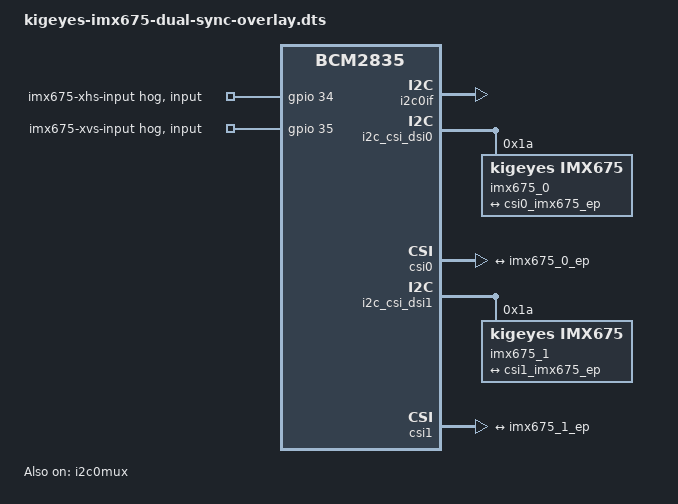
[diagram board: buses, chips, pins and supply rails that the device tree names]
// SPDX-License-Identifier: GPL-2.0-only
/dts-v1/;
/plugin/;

/*
 * KigEyes hardware-synchronised dual IMX675 setup.
 *
 * CAM0 is the XVS/XHS source and CAM1 is the receiver.  Use this overlay only
 * after both sync nets have been wired and every 3.3 V pull-up has been
 * isolated from the sensors' 1.8 V pins.  The ordinary dual overlay keeps both
 * modules in master/free-running mode for development hardware.
 */

/ {
	compatible = "brcm,bcm2835";

	fragment@0 {
		target = <&i2c0if>;
		__overlay__ { status = "okay"; };
	};

	fragment@1 {
		target = <&i2c0mux>;
		__overlay__ { status = "okay"; };
	};

	fragment@2 {
		target = <&i2c_csi_dsi0>;
		__overlay__ {
			#address-cells = <1>;
			#size-cells = <0>;
			status = "okay";

			imx675_0: camera@1a {
				compatible = "kigeyes,imx675";
				reg = <0x1a>;
				kigeyes,controller-address = <0x30>;
				kigeyes,sync-role = "master";
				rotation = <0>;
				orientation = <2>;

				port {
					imx675_0_ep: endpoint {
						clock-lanes = <0>;
						data-lanes = <1 2 3 4>;
						clock-noncontinuous;
						link-frequencies = /bits/ 64 <594000000 297000000>;
						remote-endpoint = <&csi0_imx675_ep>;
					};
				};
			};
		};
	};

	fragment@3 {
		target = <&csi0>;
		__overlay__ {
			status = "okay";
			port {
				csi0_imx675_ep: endpoint {
					clock-lanes = <0>;
					data-lanes = <1 2 3 4>;
					clock-noncontinuous;
					remote-endpoint = <&imx675_0_ep>;
				};
			};
		};
	};

	fragment@4 {
		target = <&i2c_csi_dsi1>;
		__overlay__ {
			#address-cells = <1>;
			#size-cells = <0>;
			status = "okay";

			imx675_1: camera@1a {
				compatible = "kigeyes,imx675";
				reg = <0x1a>;
				kigeyes,controller-address = <0x30>;
				kigeyes,sync-role = "slave";
				rotation = <0>;
				orientation = <2>;

				port {
					imx675_1_ep: endpoint {
						clock-lanes = <0>;
						data-lanes = <1 2 3 4>;
						clock-noncontinuous;
						link-frequencies = /bits/ 64 <594000000 297000000>;
						remote-endpoint = <&csi1_imx675_ep>;
					};
				};
			};
		};
	};

	fragment@5 {
		target = <&csi1>;
		__overlay__ {
			status = "okay";
			port {
				csi1_imx675_ep: endpoint {
					clock-lanes = <0>;
					data-lanes = <1 2 3 4>;
					clock-noncontinuous;
					remote-endpoint = <&imx675_1_ep>;
				};
			};
		};
	};

	/* Never let CM5 GPIOs drive the sensors' 1.8 V XHS/XVS nets. */
	fragment@6 {
		target = <&cam0_reg>;
		__overlay__ { status = "disabled"; };
	};

	fragment@7 {
		target = <&gpio>;
		__overlay__ {
			imx675_xhs_guard: imx675-xhs-guard {
				gpio-hog;
				gpios = <34 0>;
				input;
				line-name = "imx675-xhs-input";
			};

			imx675_xvs_guard: imx675-xvs-guard {
				gpio-hog;
				gpios = <35 0>;
				input;
				line-name = "imx675-xvs-input";
			};
		};
	};
};
